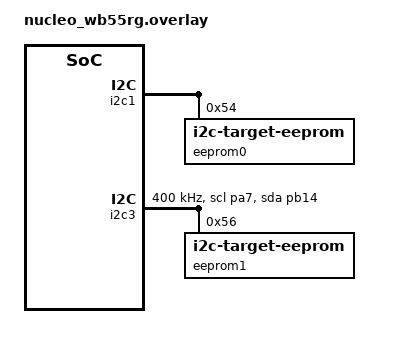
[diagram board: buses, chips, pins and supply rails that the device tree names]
/* SPDX-License-Identifier: Apache-2.0 */

/* I2C bus pins are exposed on the Arduino Shield Connectors and Morpho connectors.
 *
 *  Bus        SDA               SCL
 *          Pin   Hdr         Pin   Hdr
 *  i2c1    PB9   CN5:9      PB8    CN5:10
 *  i2c3    PA7   CN5:4      PB14   CN10:28
 *
 * Short Pin PB9 to PA7, and PB8 to PB14, for the test to pass.
 */

#define IC2_TEST_0_DMA_TX <&dmamux1 0 11 (STM32_DMA_PERIPH_TX | STM32_DMA_PRIORITY_HIGH)>
#define IC2_TEST_0_DMA_RX <&dmamux1 1 10 (STM32_DMA_PERIPH_RX | STM32_DMA_PRIORITY_HIGH)>

i2c_test_0: &i2c1 {
	dmas = IC2_TEST_0_DMA_TX, IC2_TEST_0_DMA_RX;
	dma-names = "tx", "rx";

	eeprom0: eeprom@54 {
		compatible = "zephyr,i2c-target-eeprom";
		reg = <0x54>;
		size = <256>;
	};
};

#define IC2_TEST_1_DMA_TX <&dmamux1 2 13 (STM32_DMA_PERIPH_TX | STM32_DMA_PRIORITY_HIGH)>
#define IC2_TEST_1_DMA_RX <&dmamux1 3 12 (STM32_DMA_PERIPH_RX | STM32_DMA_PRIORITY_HIGH)>

i2c_test_1: &i2c3 {
	pinctrl-0 = <&i2c3_scl_pa7 &i2c3_sda_pb14>;
	pinctrl-names = "default";
	scl-gpios = <&gpioa 7 GPIO_ACTIVE_HIGH>;
	sda-gpios = <&gpiob 14 GPIO_ACTIVE_HIGH>;
	dmas = IC2_TEST_1_DMA_TX, IC2_TEST_1_DMA_RX;
	dma-names = "tx", "rx";
	status = "okay";
	clock-frequency = <I2C_BITRATE_FAST>;

	eeprom1: eeprom@56 {
		compatible = "zephyr,i2c-target-eeprom";
		reg = <0x56>;
		size = <256>;
	};
};

&dma1 {
	status = "okay";
};

&dma2 {
	status = "okay";
};

&dmamux1 {
	status = "okay";
};
